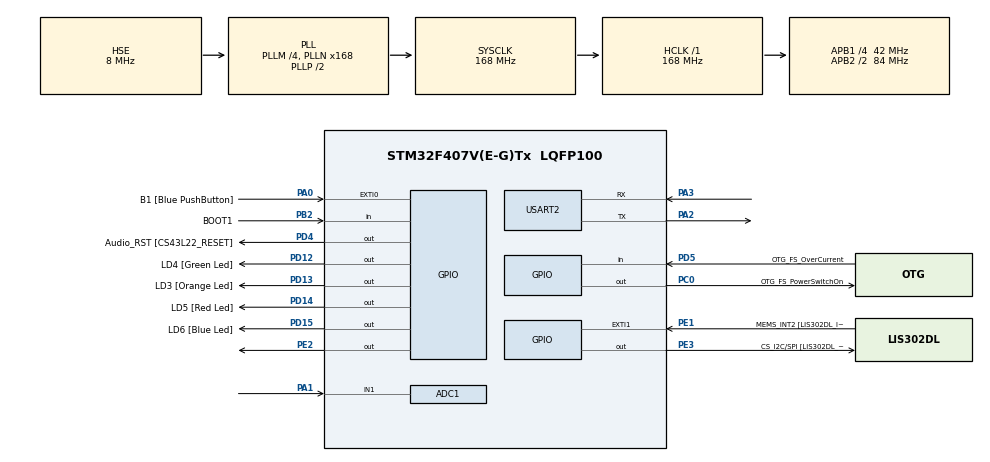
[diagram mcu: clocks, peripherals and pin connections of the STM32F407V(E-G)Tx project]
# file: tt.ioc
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ADC1.Channel-0\#ChannelRegularConversion=ADC_CHANNEL_1
ADC1.ContinuousConvMode=ENABLE
ADC1.DMAContinuousRequests=ENABLE
ADC1.NbrOfConversion=1
ADC1.NbrOfConversionFlag=1
ADC1.Rank-0\#ChannelRegularConversion=1
ADC1.SamplingTime-0\#ChannelRegularConversion=ADC_SAMPLETIME_3CYCLES
ADC1.ScanConvMode=ENABLE
ADC1.master=1
Dma.ADC1.0.Direction=DMA_PERIPH_TO_MEMORY
Dma.ADC1.0.FIFOMode=DMA_FIFOMODE_ENABLE
Dma.ADC1.0.FIFOThreshold=DMA_FIFO_THRESHOLD_HALFFULL
Dma.ADC1.0.Instance=DMA2_Stream0
Dma.ADC1.0.MemBurst=DMA_MBURST_SINGLE
Dma.ADC1.0.MemDataAlignment=DMA_MDATAALIGN_HALFWORD
Dma.ADC1.0.MemInc=DMA_MINC_ENABLE
Dma.ADC1.0.Mode=DMA_CIRCULAR
Dma.ADC1.0.PeriphBurst=DMA_PBURST_SINGLE
Dma.ADC1.0.PeriphDataAlignment=DMA_PDATAALIGN_HALFWORD
Dma.ADC1.0.PeriphInc=DMA_PINC_DISABLE
Dma.ADC1.0.Priority=DMA_PRIORITY_MEDIUM
Dma.Request0=ADC1
Mcu.Family=STM32F4
Mcu.Name=STM32F407V(E-G)Tx
Mcu.Package=LQFP100
NVIC.DMA2_Stream0_IRQn=true\:0\:0\:false\:false\:true\:false
NVIC.PriorityGroup=NVIC_PRIORITYGROUP_0
PA0-WKUP.GPIO_Label=B1 [Blue PushButton]
PA0-WKUP.GPIO_ModeDefaultEXTI=GPIO_MODE_EVT_RISING
PA0-WKUP.GPIO_PuPd=GPIO_NOPULL
PA0-WKUP.Signal=GPXTI0
PA1.Signal=ADCx_IN1
PA10.GPIO_Label=OTG_FS_ID
PA10.GPIO_Mode=GPIO_MODE_AF_PP
PA10.GPIO_PuPd=GPIO_NOPULL
PA10.GPIO_Speed=GPIO_SPEED_FREQ_LOW
PA10.Signal=USB_OTG_FS_ID
PA11.GPIO_Label=OTG_FS_DM
PA11.GPIO_Mode=GPIO_MODE_AF_PP
PA11.GPIO_PuPd=GPIO_NOPULL
PA11.GPIO_Speed=GPIO_SPEED_FREQ_LOW
PA11.Signal=USB_OTG_FS_DM
PA12.GPIO_Label=OTG_FS_DP
PA12.GPIO_Mode=GPIO_MODE_AF_PP
PA12.GPIO_PuPd=GPIO_NOPULL
PA12.GPIO_Speed=GPIO_SPEED_FREQ_LOW
PA12.Signal=USB_OTG_FS_DP
PA13.GPIO_Label=SWDIO
PA13.Signal=SYS_JTMS-SWDIO
PA14.GPIO_Label=SWCLK
PA14.Signal=SYS_JTCK-SWCLK
PA2.Mode=Asynchronous
PA2.Signal=USART2_TX
PA3.Mode=Asynchronous
PA3.Signal=USART2_RX
PA4.GPIO_Label=I2S3_WS [CS43L22_LRCK]
PA4.GPIO_Mode=GPIO_MODE_AF_PP
PA4.GPIO_PuPd=GPIO_NOPULL
PA4.GPIO_Speed=GPIO_SPEED_FREQ_LOW
PA4.Signal=I2S3_WS
PA5.GPIO_Label=SPI1_SCK [LIS302DL_SCL/SPC]
PA5.GPIO_Mode=GPIO_MODE_AF_PP
PA5.GPIO_PuPd=GPIO_NOPULL
PA5.GPIO_Speed=GPIO_SPEED_FREQ_LOW
PA5.Signal=SPI1_SCK
PA6.GPIO_Label=SPI1_MISO [LIS302DL_SDO]
PA6.GPIO_Mode=GPIO_MODE_AF_PP
PA6.GPIO_PuPd=GPIO_NOPULL
PA6.GPIO_Speed=GPIO_SPEED_FREQ_LOW
PA6.Signal=SPI1_MISO
PA7.GPIO_Label=SPI1_MOSI [LIS302DL_SDA/SDI/SDO]
PA7.GPIO_Mode=GPIO_MODE_AF_PP
PA7.GPIO_PuPd=GPIO_NOPULL
PA7.GPIO_Speed=GPIO_SPEED_FREQ_LOW
PA7.Signal=SPI1_MOSI
PA9.GPIO_Label=VBUS_FS
PA9.GPIO_Mode=GPIO_MODE_INPUT
PA9.GPIO_PuPd=GPIO_NOPULL
PA9.Signal=USB_OTG_FS_VBUS
PB10.GPIO_Label=CLK_IN [MP45DT02_CLK]
PB10.GPIO_Mode=GPIO_MODE_AF_PP
PB10.GPIO_PuPd=GPIO_NOPULL
PB10.GPIO_Speed=GPIO_SPEED_FREQ_LOW
PB10.Signal=I2S2_CK
PB2.GPIO_Label=BOOT1
PB2.GPIO_Mode=GPIO_MODE_INPUT
PB2.GPIO_PuPd=GPIO_NOPULL
PB2.Signal=GPIO_Input
PB3.GPIO_Label=SWO
PB3.Signal=SYS_JTDO-SWO
PB6.GPIO_Label=Audio_SCL [CS43L22_SCL]
PB6.GPIO_Mode=GPIO_MODE_AF_OD
PB6.GPIO_PuPd=GPIO_NOPULL
PB6.GPIO_Speed=GPIO_SPEED_FREQ_LOW
PB6.Signal=I2C1_SCL
PB9.GPIO_Label=Audio_SDA [CS43L22_SDA]
PB9.GPIO_Mode=GPIO_MODE_AF_OD
PB9.GPIO_PuPd=GPIO_NOPULL
PB9.GPIO_Speed=GPIO_SPEED_FREQ_LOW
PB9.Signal=I2C1_SDA
PC0.GPIO_Label=OTG_FS_PowerSwitchOn
PC0.GPIO_PuPd=GPIO_NOPULL
PC0.GPIO_Speed=GPIO_SPEED_FREQ_LOW
PC0.PinState=GPIO_PIN_SET
PC0.Signal=GPIO_Output
PC10.GPIO_Label=I2S3_SCK [CS43L22_SCLK]
PC10.GPIO_Mode=GPIO_MODE_AF_PP
PC10.GPIO_PuPd=GPIO_NOPULL
PC10.GPIO_Speed=GPIO_SPEED_FREQ_LOW
PC10.Signal=I2S3_CK
PC12.GPIO_Label=I2S3_SD [CS43L22_SDIN]
PC12.GPIO_Mode=GPIO_MODE_AF_PP
PC12.GPIO_PuPd=GPIO_NOPULL
PC12.GPIO_Speed=GPIO_SPEED_FREQ_LOW
PC12.Signal=I2S3_SD
PC14-OSC32_IN.GPIO_Label=PC14-OSC32_IN
PC14-OSC32_IN.Signal=RCC_OSC32_IN
PC15-OSC32_OUT.GPIO_Label=PC15-OSC32_OUT
PC15-OSC32_OUT.Signal=RCC_OSC32_OUT
PC3.GPIO_Label=PDM_OUT [MP45DT02_DOUT]
PC3.GPIO_Mode=GPIO_MODE_AF_PP
PC3.GPIO_PuPd=GPIO_NOPULL
PC3.GPIO_Speed=GPIO_SPEED_FREQ_LOW
PC3.Signal=I2S2_SD
PC7.GPIO_Label=I2S3_MCK [CS43L22_MCLK]
PC7.GPIO_Mode=GPIO_MODE_AF_PP
PC7.GPIO_PuPd=GPIO_NOPULL
PC7.GPIO_Speed=GPIO_SPEED_FREQ_LOW
PC7.Signal=I2S3_MCK
PD12.GPIO_Label=LD4 [Green Led]
PD12.GPIO_PuPd=GPIO_NOPULL
PD12.GPIO_Speed=GPIO_SPEED_FREQ_LOW
PD12.Signal=GPIO_Output
PD13.GPIO_Label=LD3 [Orange Led]
PD13.GPIO_PuPd=GPIO_NOPULL
PD13.GPIO_Speed=GPIO_SPEED_FREQ_LOW
PD13.Signal=GPIO_Output
PD14.GPIO_Label=LD5 [Red Led]
PD14.GPIO_PuPd=GPIO_NOPULL
PD14.GPIO_Speed=GPIO_SPEED_FREQ_LOW
PD14.Signal=GPIO_Output
PD15.GPIO_Label=LD6 [Blue Led]
PD15.GPIO_PuPd=GPIO_NOPULL
PD15.GPIO_Speed=GPIO_SPEED_FREQ_LOW
PD15.Signal=GPIO_Output
PD4.GPIO_Label=Audio_RST [CS43L22_RESET]
PD4.GPIO_PuPd=GPIO_NOPULL
PD4.GPIO_Speed=GPIO_SPEED_FREQ_LOW
PD4.Signal=GPIO_Output
PD5.GPIO_Label=OTG_FS_OverCurrent
PD5.GPIO_Mode=GPIO_MODE_INPUT
PD5.GPIO_PuPd=GPIO_NOPULL
PD5.Signal=GPIO_Input
PE1.GPIO_Label=MEMS_INT2 [LIS302DL_INT2]
PE1.GPIO_ModeDefaultEXTI=GPIO_MODE_EVT_RISING
PE1.GPIO_PuPd=GPIO_NOPULL
PE1.Signal=GPXTI1
PE2.Signal=GPIO_Output
PE3.GPIO_Label=CS_I2C/SPI [LIS302DL_CS_I2C/SPI]
PE3.GPIO_PuPd=GPIO_PULLDOWN
PE3.GPIO_Speed=GPIO_SPEED_FREQ_LOW
PE3.Signal=GPIO_Output
PH0-OSC_IN.GPIO_Label=PH0-OSC_IN
PH0-OSC_IN.Mode=HSE-External-Oscillator
PH0-OSC_IN.Signal=RCC_OSC_IN
PH1-OSC_OUT.GPIO_Label=PH1-OSC_OUT
PH1-OSC_OUT.Mode=HSE-External-Oscillator
PH1-OSC_OUT.Signal=RCC_OSC_OUT
ProjectManager.HeapSize=0x200
ProjectManager.StackSize=0x400
ProjectManager.TargetToolchain=MDK-ARM V5
RCC.48MHZClocksFreq_Value=48000000
RCC.AHBFreq_Value=168000000
RCC.APB1CLKDivider=RCC_HCLK_DIV4
RCC.APB1Freq_Value=42000000
RCC.APB1TimFreq_Value=84000000
RCC.APB2CLKDivider=RCC_HCLK_DIV2
RCC.APB2Freq_Value=84000000
RCC.APB2TimFreq_Value=168000000
RCC.CortexFreq_Value=168000000
RCC.HCLKFreq_Value=168000000
RCC.HSE_VALUE=8000000
RCC.HSI_VALUE=16000000
RCC.LSE_VALUE=32768
RCC.PLLM=4
RCC.PLLN=168
RCC.PLLQ=7
RCC.PLLSourceVirtual=RCC_PLLSOURCE_HSE
RCC.SYSCLKFreq_VALUE=168000000
RCC.SYSCLKSource=RCC_SYSCLKSOURCE_PLLCLK
RCC.VCOOutputFreq_Value=336000000
SH.ADCx_IN1.0=ADC1_IN1,IN1
USART2.VirtualMode=VM_ASYNC
board=STM32F4DISCOVERY

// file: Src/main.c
/* USER CODE BEGIN Header */
/**
  ******************************************************************************
  * @file           : main.c
  * @brief          : Main program body
  ******************************************************************************
  ** This notice applies to any and all portions of this file
  * that are not between comment pairs USER CODE BEGIN and
  * USER CODE END. Other portions of this file, whether
  * inserted by the user or by software development tools
  * are owned by their respective copyright owners.
  *
  * COPYRIGHT(c) 2019 STMicroelectronics
  *
  * Redistribution and use in source and binary forms, with or without modification,
  * are permitted provided that the following conditions are met:
  *   1. Redistributions of source code must retain the above copyright notice,
  *      this list of conditions and the following disclaimer.
  *   2. Redistributions in binary form must reproduce the above copyright notice,
  *      this list of conditions and the following disclaimer in the documentation
  *      and/or other materials provided with the distribution.
  *   3. Neither the name of STMicroelectronics nor the names of its contributors
  *      may be used to endorse or promote products derived from this software
  *      without specific prior written permission.
  *
  * THIS SOFTWARE IS PROVIDED BY THE COPYRIGHT HOLDERS AND CONTRIBUTORS "AS IS"
  * AND ANY EXPRESS OR IMPLIED WARRANTIES, INCLUDING, BUT NOT LIMITED TO, THE
  * IMPLIED WARRANTIES OF MERCHANTABILITY AND FITNESS FOR A PARTICULAR PURPOSE ARE
  * DISCLAIMED. IN NO EVENT SHALL THE COPYRIGHT HOLDER OR CONTRIBUTORS BE LIABLE
  * FOR ANY DIRECT, INDIRECT, INCIDENTAL, SPECIAL, EXEMPLARY, OR CONSEQUENTIAL
  * DAMAGES (INCLUDING, BUT NOT LIMITED TO, PROCUREMENT OF SUBSTITUTE GOODS OR
  * SERVICES; LOSS OF USE, DATA, OR PROFITS; OR BUSINESS INTERRUPTION) HOWEVER
  * CAUSED AND ON ANY THEORY OF LIABILITY, WHETHER IN CONTRACT, STRICT LIABILITY,
  * OR TORT (INCLUDING NEGLIGENCE OR OTHERWISE) ARISING IN ANY WAY OUT OF THE USE
  * OF THIS SOFTWARE, EVEN IF ADVISED OF THE POSSIBILITY OF SUCH DAMAGE.
  *
  ******************************************************************************
  */
/* USER CODE END Header */

#include "main.h"

ADC_HandleTypeDef hadc1;
DMA_HandleTypeDef hdma_adc1;

UART_HandleTypeDef huart2;

void SystemClock_Config(void);
static void MX_GPIO_Init(void);
static void MX_DMA_Init(void);
static void MX_ADC1_Init(void);
static void MX_USART2_UART_Init(void);

/* USER CODE BEGIN 0 */
volatile uint32_t max_adc = 0;
volatile uint32_t adc_res;
volatile uint32_t ready_status = 0;
volatile uint32_t down_trend = 0;
volatile uint32_t up_trend = 0;
/* USER CODE END 0 */

int main(void)
{

  /* MCU Configuration--------------------------------------------------------*/

  /* Reset of all peripherals, Initializes the Flash interface and the Systick. */
  HAL_Init();

  /* Configure the system clock */
  SystemClock_Config();

  /* Initialize all configured peripherals */
  MX_GPIO_Init();
  MX_DMA_Init();
  MX_ADC1_Init();
  MX_USART2_UART_Init();
  /* USER CODE BEGIN 2 */

  //ready_status = 0;
HAL_ADC_Start_DMA(&hadc1, (uint32_t*)&adc_res, 1);
char buf[20];
  /* USER CODE END 2 */

  /* Infinite loop */
  /* USER CODE BEGIN WHILE */

  while (1)
  {
      if (ready_status == 1){
          HAL_GPIO_WritePin(GPIOE,GPIO_PIN_2,GPIO_PIN_SET);
          HAL_UART_Transmit(&huart2, (uint8_t*)buf, sprintf(buf, "%d \r\n", max_adc),1000);
          max_adc = 0;
          ready_status = 0;
          down_trend = 0;
          up_trend = 0;
          HAL_GPIO_WritePin(GPIOE,GPIO_PIN_2,GPIO_PIN_RESET);
      }

    /* USER CODE END WHILE */

  }
}

void SystemClock_Config(void)
{
  RCC_OscInitTypeDef RCC_OscInitStruct = {0};
  RCC_ClkInitTypeDef RCC_ClkInitStruct = {0};

  /**Configure the main internal regulator output voltage
  */
  __HAL_RCC_PWR_CLK_ENABLE();
  __HAL_PWR_VOLTAGESCALING_CONFIG(PWR_REGULATOR_VOLTAGE_SCALE1);
  /**Initializes the CPU, AHB and APB busses clocks
  */
  RCC_OscInitStruct.OscillatorType = RCC_OSCILLATORTYPE_HSE;
  RCC_OscInitStruct.HSEState = RCC_HSE_ON;
  RCC_OscInitStruct.PLL.PLLState = RCC_PLL_ON;
  RCC_OscInitStruct.PLL.PLLSource = RCC_PLLSOURCE_HSE;
  RCC_OscInitStruct.PLL.PLLM = 4;
  RCC_OscInitStruct.PLL.PLLN = 168;
  RCC_OscInitStruct.PLL.PLLP = RCC_PLLP_DIV2;
  RCC_OscInitStruct.PLL.PLLQ = 7;
  if (HAL_RCC_OscConfig(&RCC_OscInitStruct) != HAL_OK)
  {
    Error_Handler();
  }
  /**Initializes the CPU, AHB and APB busses clocks
  */
  RCC_ClkInitStruct.ClockType = RCC_CLOCKTYPE_HCLK|RCC_CLOCKTYPE_SYSCLK
                              |RCC_CLOCKTYPE_PCLK1|RCC_CLOCKTYPE_PCLK2;
  RCC_ClkInitStruct.SYSCLKSource = RCC_SYSCLKSOURCE_PLLCLK;
  RCC_ClkInitStruct.AHBCLKDivider = RCC_SYSCLK_DIV1;
  RCC_ClkInitStruct.APB1CLKDivider = RCC_HCLK_DIV4;
  RCC_ClkInitStruct.APB2CLKDivider = RCC_HCLK_DIV2;

  if (HAL_RCC_ClockConfig(&RCC_ClkInitStruct, FLASH_LATENCY_5) != HAL_OK)
  {
    Error_Handler();
  }
}

static void MX_ADC1_Init(void)
{

  ADC_ChannelConfTypeDef sConfig = {0};

  /**Configure the global features of the ADC (Clock, Resolution, Data Alignment and number of conversion)
  */
  hadc1.Instance = ADC1;
  hadc1.Init.ClockPrescaler = ADC_CLOCK_SYNC_PCLK_DIV4;
  hadc1.Init.Resolution = ADC_RESOLUTION_12B;
  hadc1.Init.ScanConvMode = ENABLE;
  hadc1.Init.ContinuousConvMode = ENABLE;
  hadc1.Init.DiscontinuousConvMode = DISABLE;
  hadc1.Init.ExternalTrigConvEdge = ADC_EXTERNALTRIGCONVEDGE_NONE;
  hadc1.Init.ExternalTrigConv = ADC_SOFTWARE_START;
  hadc1.Init.DataAlign = ADC_DATAALIGN_RIGHT;
  hadc1.Init.NbrOfConversion = 1;
  hadc1.Init.DMAContinuousRequests = ENABLE;
  hadc1.Init.EOCSelection = ADC_EOC_SINGLE_CONV;
  if (HAL_ADC_Init(&hadc1) != HAL_OK)
  {
    Error_Handler();
  }
  /**Configure for the selected ADC regular channel its corresponding rank in the sequencer and its sample time.
  */
  sConfig.Channel = ADC_CHANNEL_1;
  sConfig.Rank = 1;
  sConfig.SamplingTime = ADC_SAMPLETIME_3CYCLES;
  if (HAL_ADC_ConfigChannel(&hadc1, &sConfig) != HAL_OK)
  {
    Error_Handler();
  }

}

static void MX_USART2_UART_Init(void)
{

  huart2.Instance = USART2;
  huart2.Init.BaudRate = 115200;
  huart2.Init.WordLength = UART_WORDLENGTH_8B;
  huart2.Init.StopBits = UART_STOPBITS_1;
  huart2.Init.Parity = UART_PARITY_NONE;
  huart2.Init.Mode = UART_MODE_TX_RX;
  huart2.Init.HwFlowCtl = UART_HWCONTROL_NONE;
  huart2.Init.OverSampling = UART_OVERSAMPLING_16;
  if (HAL_UART_Init(&huart2) != HAL_OK)
  {
    Error_Handler();
  }

}

static void MX_DMA_Init(void)
{
  /* DMA controller clock enable */
  __HAL_RCC_DMA2_CLK_ENABLE();

  /* DMA interrupt init */
  /* DMA2_Stream0_IRQn interrupt configuration */
  HAL_NVIC_SetPriority(DMA2_Stream0_IRQn, 0, 0);
  HAL_NVIC_EnableIRQ(DMA2_Stream0_IRQn);

}

static void MX_GPIO_Init(void)
{
  GPIO_InitTypeDef GPIO_InitStruct = {0};

  /* GPIO Ports Clock Enable */
  __HAL_RCC_GPIOE_CLK_ENABLE();
  __HAL_RCC_GPIOC_CLK_ENABLE();
  __HAL_RCC_GPIOH_CLK_ENABLE();
  __HAL_RCC_GPIOA_CLK_ENABLE();
  __HAL_RCC_GPIOB_CLK_ENABLE();
  __HAL_RCC_GPIOD_CLK_ENABLE();

  /*Configure GPIO pin Output Level */
  HAL_GPIO_WritePin(GPIOE, GPIO_PIN_2|CS_I2C_SPI_Pin, GPIO_PIN_RESET);

  /*Configure GPIO pin Output Level */
  HAL_GPIO_WritePin(OTG_FS_PowerSwitchOn_GPIO_Port, OTG_FS_PowerSwitchOn_Pin, GPIO_PIN_SET);

  /*Configure GPIO pin Output Level */
  HAL_GPIO_WritePin(GPIOD, LD4_Pin|LD3_Pin|LD5_Pin|LD6_Pin
                          |Audio_RST_Pin, GPIO_PIN_RESET);

  /*Configure GPIO pin : PE2 */
  GPIO_InitStruct.Pin = GPIO_PIN_2;
  GPIO_InitStruct.Mode = GPIO_MODE_OUTPUT_PP;
  GPIO_InitStruct.Pull = GPIO_NOPULL;
  GPIO_InitStruct.Speed = GPIO_SPEED_FREQ_LOW;
  HAL_GPIO_Init(GPIOE, &GPIO_InitStruct);

  /*Configure GPIO pin : CS_I2C_SPI_Pin */
  GPIO_InitStruct.Pin = CS_I2C_SPI_Pin;
  GPIO_InitStruct.Mode = GPIO_MODE_OUTPUT_PP;
  GPIO_InitStruct.Pull = GPIO_PULLDOWN;
  GPIO_InitStruct.Speed = GPIO_SPEED_FREQ_LOW;
  HAL_GPIO_Init(CS_I2C_SPI_GPIO_Port, &GPIO_InitStruct);

  /*Configure GPIO pin : OTG_FS_PowerSwitchOn_Pin */
  GPIO_InitStruct.Pin = OTG_FS_PowerSwitchOn_Pin;
  GPIO_InitStruct.Mode = GPIO_MODE_OUTPUT_PP;
  GPIO_InitStruct.Pull = GPIO_NOPULL;
  GPIO_InitStruct.Speed = GPIO_SPEED_FREQ_LOW;
  HAL_GPIO_Init(OTG_FS_PowerSwitchOn_GPIO_Port, &GPIO_InitStruct);

  /*Configure GPIO pin : PDM_OUT_Pin */
  GPIO_InitStruct.Pin = PDM_OUT_Pin;
  GPIO_InitStruct.Mode = GPIO_MODE_AF_PP;
  GPIO_InitStruct.Pull = GPIO_NOPULL;
  GPIO_InitStruct.Speed = GPIO_SPEED_FREQ_LOW;
  GPIO_InitStruct.Alternate = GPIO_AF5_SPI2;
  HAL_GPIO_Init(PDM_OUT_GPIO_Port, &GPIO_InitStruct);

  /*Configure GPIO pin : B1_Pin */
  GPIO_InitStruct.Pin = B1_Pin;
  GPIO_InitStruct.Mode = GPIO_MODE_EVT_RISING;
  GPIO_InitStruct.Pull = GPIO_NOPULL;
  HAL_GPIO_Init(B1_GPIO_Port, &GPIO_InitStruct);

  /*Configure GPIO pin : I2S3_WS_Pin */
  GPIO_InitStruct.Pin = I2S3_WS_Pin;
  GPIO_InitStruct.Mode = GPIO_MODE_AF_PP;
  GPIO_InitStruct.Pull = GPIO_NOPULL;
  GPIO_InitStruct.Speed = GPIO_SPEED_FREQ_LOW;
  GPIO_InitStruct.Alternate = GPIO_AF6_SPI3;
  HAL_GPIO_Init(I2S3_WS_GPIO_Port, &GPIO_InitStruct);

  /*Configure GPIO pins : SPI1_SCK_Pin SPI1_MISO_Pin SPI1_MOSI_Pin */
  GPIO_InitStruct.Pin = SPI1_SCK_Pin|SPI1_MISO_Pin|SPI1_MOSI_Pin;
  GPIO_InitStruct.Mode = GPIO_MODE_AF_PP;
  GPIO_InitStruct.Pull = GPIO_NOPULL;
  GPIO_InitStruct.Speed = GPIO_SPEED_FREQ_LOW;
  GPIO_InitStruct.Alternate = GPIO_AF5_SPI1;
  HAL_GPIO_Init(GPIOA, &GPIO_InitStruct);

  /*Configure GPIO pin : BOOT1_Pin */
  GPIO_InitStruct.Pin = BOOT1_Pin;
  GPIO_InitStruct.Mode = GPIO_MODE_INPUT;
  GPIO_InitStruct.Pull = GPIO_NOPULL;
  HAL_GPIO_Init(BOOT1_GPIO_Port, &GPIO_InitStruct);

  /*Configure GPIO pin : CLK_IN_Pin */
  GPIO_InitStruct.Pin = CLK_IN_Pin;
  GPIO_InitStruct.Mode = GPIO_MODE_AF_PP;
  GPIO_InitStruct.Pull = GPIO_NOPULL;
  GPIO_InitStruct.Speed = GPIO_SPEED_FREQ_LOW;
  GPIO_InitStruct.Alternate = GPIO_AF5_SPI2;
  HAL_GPIO_Init(CLK_IN_GPIO_Port, &GPIO_InitStruct);

  /*Configure GPIO pins : LD4_Pin LD3_Pin LD5_Pin LD6_Pin
                           Audio_RST_Pin */
  GPIO_InitStruct.Pin = LD4_Pin|LD3_Pin|LD5_Pin|LD6_Pin
                          |Audio_RST_Pin;
  GPIO_InitStruct.Mode = GPIO_MODE_OUTPUT_PP;
  GPIO_InitStruct.Pull = GPIO_NOPULL;
  GPIO_InitStruct.Speed = GPIO_SPEED_FREQ_LOW;
  HAL_GPIO_Init(GPIOD, &GPIO_InitStruct);

  /*Configure GPIO pins : I2S3_MCK_Pin I2S3_SCK_Pin I2S3_SD_Pin */
  GPIO_InitStruct.Pin = I2S3_MCK_Pin|I2S3_SCK_Pin|I2S3_SD_Pin;
  GPIO_InitStruct.Mode = GPIO_MODE_AF_PP;
  GPIO_InitStruct.Pull = GPIO_NOPULL;
  GPIO_InitStruct.Speed = GPIO_SPEED_FREQ_LOW;
  GPIO_InitStruct.Alternate = GPIO_AF6_SPI3;
  HAL_GPIO_Init(GPIOC, &GPIO_InitStruct);

  /*Configure GPIO pin : VBUS_FS_Pin */
  GPIO_InitStruct.Pin = VBUS_FS_Pin;
  GPIO_InitStruct.Mode = GPIO_MODE_INPUT;
  GPIO_InitStruct.Pull = GPIO_NOPULL;
  HAL_GPIO_Init(VBUS_FS_GPIO_Port, &GPIO_InitStruct);

  /*Configure GPIO pins : OTG_FS_ID_Pin OTG_FS_DM_Pin OTG_FS_DP_Pin */
  GPIO_InitStruct.Pin = OTG_FS_ID_Pin|OTG_FS_DM_Pin|OTG_FS_DP_Pin;
  GPIO_InitStruct.Mode = GPIO_MODE_AF_PP;
  GPIO_InitStruct.Pull = GPIO_NOPULL;
  GPIO_InitStruct.Speed = GPIO_SPEED_FREQ_LOW;
  GPIO_InitStruct.Alternate = GPIO_AF10_OTG_FS;
  HAL_GPIO_Init(GPIOA, &GPIO_InitStruct);

  /*Configure GPIO pin : OTG_FS_OverCurrent_Pin */
  GPIO_InitStruct.Pin = OTG_FS_OverCurrent_Pin;
  GPIO_InitStruct.Mode = GPIO_MODE_INPUT;
  GPIO_InitStruct.Pull = GPIO_NOPULL;
  HAL_GPIO_Init(OTG_FS_OverCurrent_GPIO_Port, &GPIO_InitStruct);

  /*Configure GPIO pins : Audio_SCL_Pin Audio_SDA_Pin */
  GPIO_InitStruct.Pin = Audio_SCL_Pin|Audio_SDA_Pin;
  GPIO_InitStruct.Mode = GPIO_MODE_AF_OD;
  GPIO_InitStruct.Pull = GPIO_PULLUP;
  GPIO_InitStruct.Speed = GPIO_SPEED_FREQ_LOW;
  GPIO_InitStruct.Alternate = GPIO_AF4_I2C1;
  HAL_GPIO_Init(GPIOB, &GPIO_InitStruct);

  /*Configure GPIO pin : MEMS_INT2_Pin */
  GPIO_InitStruct.Pin = MEMS_INT2_Pin;
  GPIO_InitStruct.Mode = GPIO_MODE_EVT_RISING;
  GPIO_InitStruct.Pull = GPIO_NOPULL;
  HAL_GPIO_Init(MEMS_INT2_GPIO_Port, &GPIO_InitStruct);

}

void Error_Handler(void)
{
}

/************************ (C) COPYRIGHT STMicroelectronics *****END OF FILE****/
